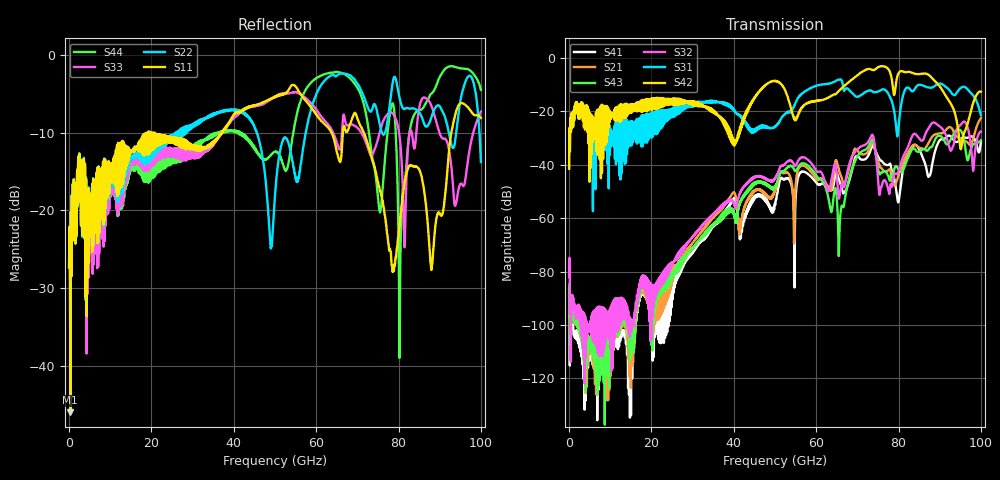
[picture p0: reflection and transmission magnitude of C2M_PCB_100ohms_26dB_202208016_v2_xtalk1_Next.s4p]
! Info: Touchstone file created by Circ.  Input file=Intel_C2M_200G_11p0in_202208016_staggered.circ
# Hz S RI R 50
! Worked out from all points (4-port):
!   10000 points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, 10 MHz to 100 GHz, reference 50 ohm
!   strongest paths, dB at 10 MHz, 25.01 GHz, 50.01 GHz, 75.01 GHz, 100 GHz:
!     S42: -41.4, -15.4, -8.7, -3.4, -12.6
!     S31: -41.4, -19.1, -25.6, -12.5, -21.4
!     S32: -82.0, -77.0, -45.2, -45.0, -27.5
!     S43: -86.5, -80.2, -48.1, -41.3, -30.8
!     S21: -86.8, -78.1, -50.0, -38.4, -22.5
!     S41: -88.5, -79.5, -54.9, -36.8, -31.5
!   lowest |S11| = -46.0 dB at 290 MHz (marker M1), VSWR 1.01, Z = 49.8 + j0.462 ohm
!   |S11| at or under -10 dB: start of sweep to 18.97 GHz; 20.61 GHz to 37.16 GHz (16.55 GHz wide, 57.3 % of centre); 71.51 GHz to 92.83 GHz (21.31 GHz wide, 25.9 % of centre)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
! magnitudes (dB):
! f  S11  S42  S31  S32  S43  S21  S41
! 10 MHz  -27.3  -41.4  -41.4  -82.0  -86.5  -86.8  -88.5
! 290 MHz  -46.0  -23.2  -23.3  -89.7  -96.1  -96.1  -100.2
! 65.66 GHz  -13.7  -12.0  -8.0  -51.8  -64.1  -42.6  -46.1
! 73.47 GHz  -13.3  -4.3  -12.4  -28.9  -30.7  -31.8  -33.3
! 76.03 GHz  -18.7  -3.0  -11.8  -47.4  -42.9  -41.6  -38.8
! 95.19 GHz  -6.2  -34.0  -11.1  -24.8  -27.3  -30.8  -30.1
! 100 GHz  -8.1  -12.6  -21.4  -27.5  -30.8  -22.5  -31.5
